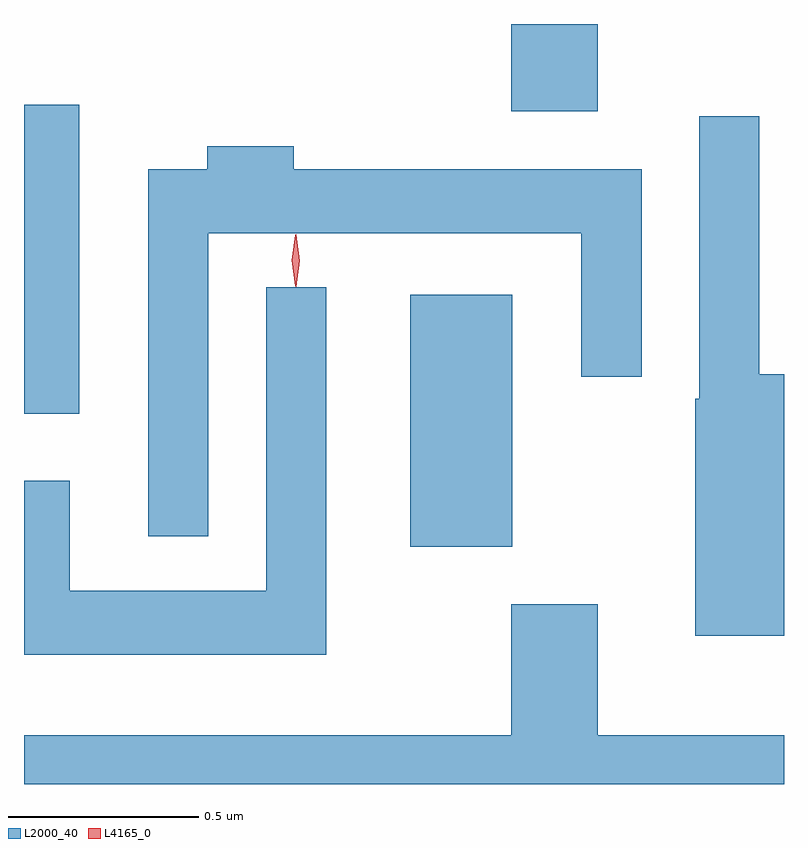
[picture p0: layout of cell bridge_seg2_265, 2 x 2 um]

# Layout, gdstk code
import gdstk
lib = gdstk.Library(unit=1e-6, precision=1e-09)
def R(c, l, rs):  # rectangles x0, y0, x1, y1
    for r in rs: c.add(gdstk.rectangle(r[:2], r[2:], *l))
def P(c, l, *ps):  # polygons
    for p in ps: c.add(gdstk.Polygon(p, *l))
L2000_40 = (2000, 40)
L4165_0 = (4165, 0)

bridge_seg2_265 = lib.new_cell('bridge_seg2_265')
R(bridge_seg2_265, L2000_40, [(633.356,1071.281,633.624,1071.944), (632.339,1071.631,632.484,1072.444), (633.621,1072.426,633.849,1072.656)])
P(bridge_seg2_265, L2000_40, [(634.339,1071.734),(634.274,1071.734),(634.274,1072.413),(634.116,1072.413),(634.116,1071.67),(634.106,1071.67),(634.106,1071.046),(634.339,1071.046)],
  [(632.824,1072.106),(633.806,1072.106),(633.806,1071.728),(633.964,1071.728),(633.964,1072.274),(633.049,1072.274),(633.049,1072.334),(632.821,1072.334),(632.821,1072.274),(632.666,1072.274),(632.666,1071.308),(632.824,1071.308)],
  [(633.134,1071.963),(632.976,1071.963),(632.976,1071.164),(632.459,1071.164),(632.459,1071.454),(632.339,1071.454),(632.339,1070.996),(633.134,1070.996)],
  [(634.339,1070.784),(633.849,1070.784),(633.849,1071.129),(633.621,1071.129),(633.621,1070.784),(632.339,1070.784),(632.339,1070.656),(634.339,1070.656)])
P(bridge_seg2_265, L4165_0, [(633.054,1071.964),(633.045,1072.033),(633.054,1072.102),(633.055,1072.103),(633.055,1072.102),(633.065,1072.033),(633.055,1071.964),(633.055,1071.964)],
  [(633.053,1071.967),(633.053,1071.967),(633.043,1072.034),(633.053,1072.1),(633.053,1072.101),(633.054,1072.1),(633.063,1072.034),(633.054,1071.967)])

lib.write_gds('bridge_seg2_265.gds')
